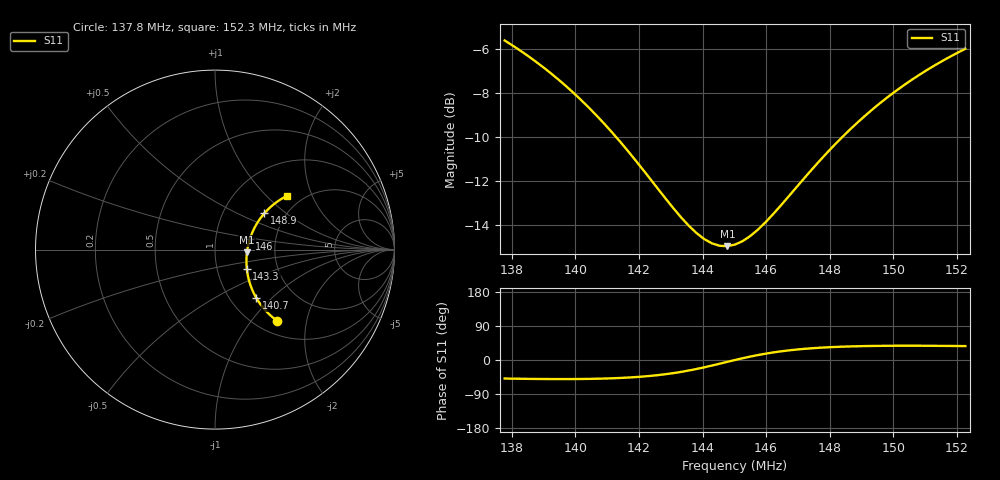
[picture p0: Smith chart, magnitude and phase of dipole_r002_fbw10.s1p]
! Free-space dipole, 1.0 m, 0.2 mm radius
! resonance 145.02 MHz, antenna Q 9.3, fractional bandwidth 10%
! generated with NEC via necpp
# MHZ S MA R 50
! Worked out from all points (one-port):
!   61 points, 137.8 MHz to 152.3 MHz, reference 50 ohm
!   lowest |S11| = -15.0 dB at 144.8 MHz (marker M1), VSWR 1.44, Z = 71.6 - j2.24 ohm
!   |S11| at or under -10 dB: 141.3 MHz to 148.4 MHz (7.112 MHz wide, 4.91 % of centre)
!   S11 on the Smith chart (normalised r, x): 137.8 MHz: 1.24, -1.35; 140.7 MHz: 1.32, -0.81; 143.3 MHz: 1.39, -0.31; 146 MHz: 1.47, +0.18; 148.9 MHz: 1.56, +0.72; 152.3 MHz: 1.67, +1.34
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137.7699  0.5245 -48.9
138.7367  0.4704 -50.0
139.2201  0.4421 -50.3
139.7035  0.413 -50.3
140.1869  0.3835 -50.1
140.6703  0.3537 -49.4
141.1537  0.3241 -48.3
141.6371  0.295 -46.4
142.6039  0.2409 -39.8
143.329  0.2077 -31.3
143.5707  0.1988 -27.7
143.8124  0.1914 -23.7
144.0541  0.1855 -19.3
144.2958  0.1814 -14.6
144.5376  0.1792 -9.8
144.7793  0.1788 -4.9
145.021  0.1803 -0.0
145.2627  0.1836 4.7
145.5044  0.1886 9.1
145.9878  0.2028 16.7
146.9546  0.2433 27.5
147.9214  0.2916 33.4
148.6465  0.3294 35.8
148.8882  0.342 36.3
149.6133  0.3792 37.3
150.5801  0.4267 37.6
151.3052  0.4603 37.4
152.272  0.5021 36.7
